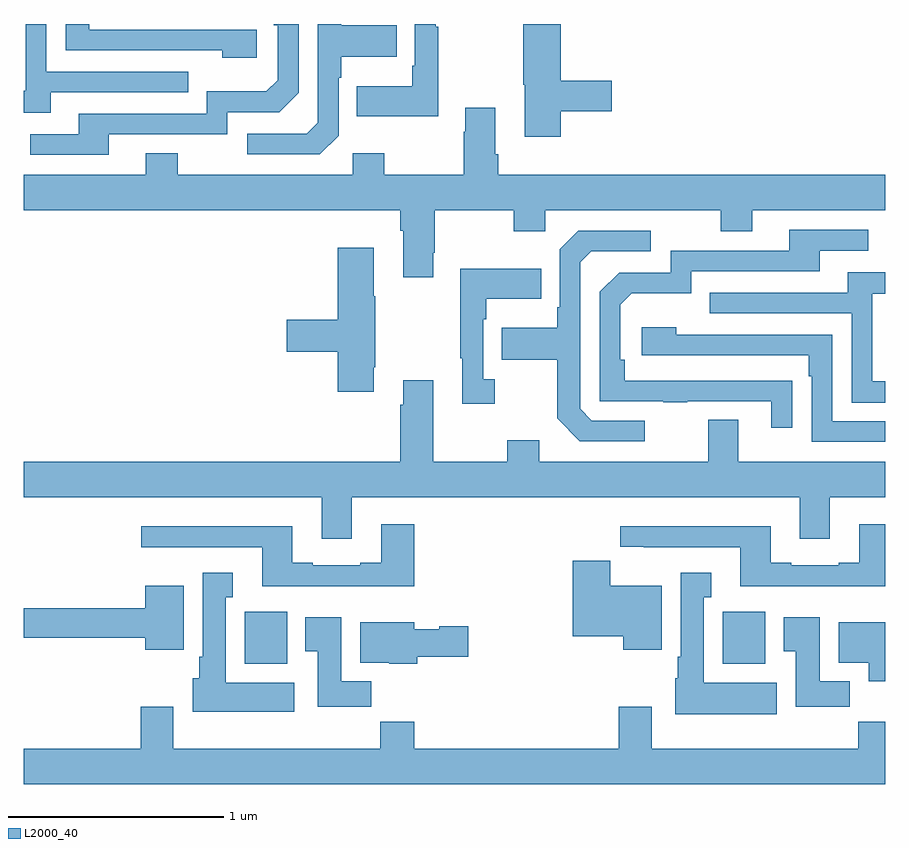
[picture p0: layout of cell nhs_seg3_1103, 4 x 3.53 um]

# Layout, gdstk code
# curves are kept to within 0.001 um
import gdstk
lib = gdstk.Library(unit=1e-6, precision=1e-09)
def R(c, l, rs):  # rectangles x0, y0, x1, y1
    for r in rs: c.add(gdstk.rectangle(r[:2], r[2:], *l))
def P(c, l, *ps):  # polygons
    for p in ps: c.add(gdstk.Polygon(p, *l))
L2000_40 = (2000, 40)

nhs_seg3_1103 = lib.new_cell('nhs_seg3_1103')
R(nhs_seg3_1103, L2000_40, [(168.026,745.43,168.223,745.672), (170.246,745.43,170.443,745.672)])
P(nhs_seg3_1103, L2000_40, [(169.493,747.994),(169.729,747.994),(169.729,748.136),(169.493,748.136),(169.493,748.4),(169.318,748.4),(169.318,748.119),(169.325,748.119),(169.325,747.876),(169.493,747.876)],
  [(167.395,747.888),(167.946,747.888),(167.946,747.99),(168.186,747.99),(168.276,748.08),(168.276,748.4),(168.16,748.4),(168.16,748.394),(168.18,748.394),(168.18,748.14),(168.127,748.087),(167.85,748.087),(167.85,747.984),(167.255,747.984),(167.255,747.888),(167.031,747.888),(167.031,747.792),(167.395,747.792)],
  [(168.082,748.374),(167.305,748.374),(167.305,748.4),(167.196,748.4),(167.196,748.278),(167.921,748.278),(167.921,748.244),(168.082,748.244)],
  [(168.462,747.882),(168.462,748.151),(168.475,748.151),(168.475,748.247),(168.731,748.247),(168.731,748.395),(168.475,748.395),(168.475,748.4),(168.366,748.4),(168.366,747.942),(168.315,747.891),(168.039,747.891),(168.039,747.795),(168.375,747.795)],
  [(167.125,748.083),(167.765,748.083),(167.765,748.179),(167.106,748.179),(167.106,748.4),(167.01,748.4),(167.01,748.089),(167,748.089),(167,747.989),(167.125,747.989)],
  [(168.925,748.387),(168.913,748.387),(168.913,748.4),(168.816,748.4),(168.816,748.207),(168.804,748.207),(168.804,748.111),(168.547,748.111),(168.547,747.971),(168.925,747.971)],
  [(168.901,747.337),(168.909,747.337),(168.909,747.536),(169.276,747.536),(169.276,747.437),(169.422,747.437),(169.422,747.536),(170.236,747.536),(170.236,747.437),(170.383,747.437),(170.383,747.536),(171,747.536),(171,747.7),(169.202,747.7),(169.202,747.796),(169.189,747.796),(169.189,748.012),(169.049,748.012),(169.049,747.899),(169.042,747.899),(169.042,747.7),(168.675,747.7),(168.675,747.799),(168.528,747.799),(168.528,747.7),(167.715,747.7),(167.715,747.799),(167.567,747.799),(167.567,747.7),(167,747.7),(167,747.536),(168.749,747.536),(168.749,747.44),(168.761,747.44),(168.761,747.225),(168.901,747.225)],
  [(170.567,746.744),(169.79,746.745),(169.79,746.842),(169.77,746.842),(169.77,747.096),(169.823,747.149),(170.1,747.149),(170.1,747.252),(170.695,747.252),(170.695,747.348),(170.92,747.348),(170.92,747.444),(170.555,747.444),(170.555,747.348),(170.004,747.348),(170.004,747.246),(169.764,747.246),(169.674,747.156),(169.674,746.649),(169.969,746.649),(169.969,746.644),(170.081,746.644),(170.081,746.649),(170.471,746.649),(170.471,746.526),(170.567,746.526)],
  [(169.882,746.559),(169.638,746.559),(169.584,746.613),(169.584,747.294),(169.635,747.345),(169.912,747.345),(169.912,747.441),(169.575,747.441),(169.488,747.354),(169.488,747.085),(169.476,747.085),(169.476,746.989),(169.219,746.989),(169.219,746.842),(169.476,746.842),(169.476,746.569),(169.581,746.463),(169.882,746.463)],
  [(168.625,746.806),(168.633,746.806),(168.633,747.137),(168.625,747.137),(168.625,747.361),(168.458,747.361),(168.458,747.026),(168.222,747.026),(168.222,746.879),(168.458,746.879),(168.458,746.694),(168.625,746.694)],
  [(169.186,746.75),(169.134,746.75),(169.134,747.029),(169.147,747.029),(169.147,747.125),(169.403,747.125),(169.403,747.265),(169.026,747.265),(169.026,746.849),(169.037,746.849),(169.037,746.637),(169.186,746.637)],
  [(171,746.742),(170.94,746.742),(170.94,747.147),(171,747.147),(171,747.247),(170.825,747.247),(170.825,747.153),(170.185,747.153),(170.185,747.057),(170.844,747.057),(170.844,746.641),(171,746.641)],
  [(171,746.556),(170.754,746.556),(170.754,746.958),(170.03,746.958),(170.03,746.992),(169.869,746.992),(169.869,746.862),(170.645,746.862),(170.645,746.765),(170.658,746.765),(170.658,746.46),(171,746.46)],
  [(168.523,746.204),(170.603,746.204),(170.603,746.01),(170.743,746.01),(170.743,746.204),(171,746.204),(171,746.368),(170.317,746.368),(170.317,746.563),(170.177,746.563),(170.177,746.368),(169.393,746.368),(169.393,746.467),(169.246,746.467),(169.246,746.368),(168.901,746.368),(168.901,746.746),(168.761,746.746),(168.761,746.633),(168.749,746.633),(168.749,746.368),(167,746.368),(167,746.204),(168.383,746.204),(168.383,746.01),(168.523,746.01)],
  [(168.812,746.077),(168.659,746.077),(168.659,745.9),(168.563,745.9),(168.563,745.887),(168.343,745.887),(168.343,745.9),(168.247,745.9),(168.247,746.068),(167.547,746.068),(167.547,745.971),(168.107,745.971),(168.107,745.79),(168.812,745.79)],
  [(171,746.077),(170.879,746.077),(170.879,745.9),(170.783,745.9),(170.783,745.887),(170.563,745.887),(170.563,745.9),(170.467,745.9),(170.467,746.068),(169.77,746.068),(169.77,745.973),(169.879,745.973),(169.879,745.971),(170.327,745.971),(170.327,745.79),(171,745.79)],
  [(169.963,745.792),(169.723,745.792),(169.723,745.908),(169.55,745.908),(169.55,745.559),(169.784,745.559),(169.784,745.496),(169.963,745.496)],
  [(170.497,745.342),(170.158,745.342),(170.158,745.739),(170.191,745.739),(170.191,745.852),(170.051,745.852),(170.051,745.462),(170.036,745.462),(170.036,745.362),(170.024,745.362),(170.024,745.196),(170.497,745.196)],
  [(168.256,745.342),(167.938,745.342),(167.938,745.739),(167.971,745.739),(167.971,745.852),(167.831,745.852),(167.831,745.462),(167.816,745.462),(167.816,745.362),(167.786,745.362),(167.786,745.208),(168.256,745.208)],
  [(167.743,745.792),(167.564,745.792),(167.564,745.688),(167,745.688),(167,745.552),(167.564,745.552),(167.564,745.496),(167.743,745.496)],
  [(168.614,745.348),(168.475,745.348),(168.475,745.645),(168.308,745.645),(168.308,745.489),(168.365,745.489),(168.365,745.23),(168.614,745.23)],
  [(170.834,745.348),(170.695,745.348),(170.695,745.645),(170.528,745.645),(170.528,745.489),(170.585,745.489),(170.585,745.23),(170.834,745.23)],
  [(168.827,745.462),(169.063,745.462),(169.063,745.604),(168.93,745.604),(168.93,745.591),(168.814,745.591),(168.814,745.624),(168.563,745.624),(168.563,745.436),(168.696,745.436),(168.696,745.43),(168.827,745.43)],
  [(171,745.624),(170.783,745.624),(170.783,745.436),(170.924,745.436),(170.924,745.349),(171,745.349)],
  [(171,745.16),(170.875,745.16),(170.875,745.036),(169.915,745.036),(169.915,745.231),(169.763,745.231),(169.763,745.036),(168.812,745.036),(168.812,745.16),(168.655,745.16),(168.655,745.036),(167.695,745.036),(167.695,745.231),(167.543,745.231),(167.543,745.036),(167,745.036),(167,744.872),(171,744.872)])

lib.write_gds('nhs_seg3_1103.gds')
